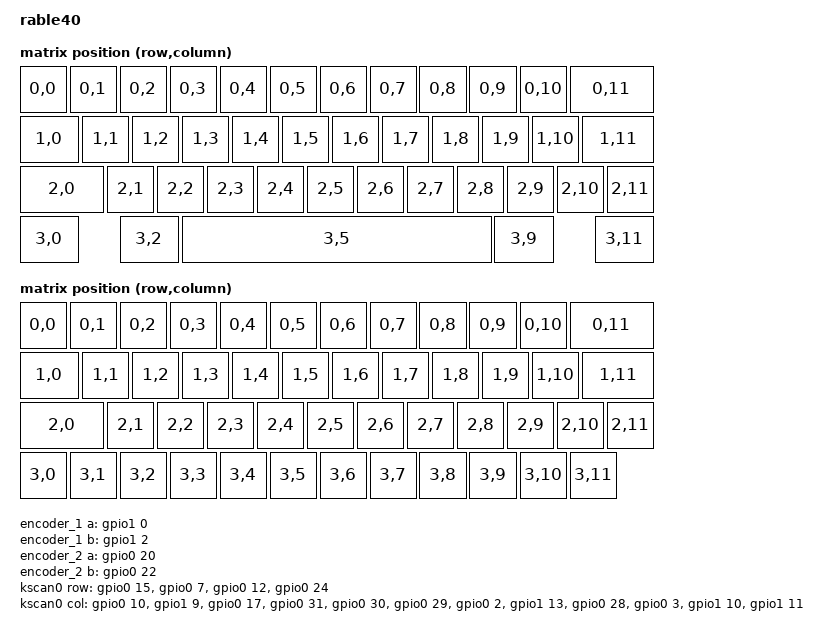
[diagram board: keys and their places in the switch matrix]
/*
 * Copyright (c) 2021 The ZMK Contributors
 *
 * SPDX-License-Identifier: MIT
 */

/dts-v1/;
#include <nordic/nrf52840_qiaa.dtsi>
#include <common/nordic/nrf52840_uf2_boot_mode.dtsi>
#include <dt-bindings/zmk/matrix_transform.h>
#include <physical_layouts.dtsi>


/ {
    model = "rable40";
    compatible = "rable40";

    chosen {
        zephyr,code-partition = &code_partition;
        zephyr,sram = &sram0;
        zephyr,flash = &flash0;
		zephyr,console = &cdc_acm_uart;
        zmk,kscan = &kscan0;
		zmk,battery = &vbatt;
        zmk,physical-layout = &all_switches_layout;
        zmk,studio-rpc-uart = &cdc_acm_uart;
    };



    vbatt: vbatt {
		compatible = "zmk,battery-voltage-divider";

		io-channels = <&adc 2>;
		output-ohms = <2000000>;
		full-ohms = <(2000000 + 806000)>;
	};

    // Encoder
    encoder_1: encoder_1 {
        compatible = "alps,ec11";

        a-gpios = <&gpio1 0 (GPIO_ACTIVE_LOW | GPIO_PULL_UP)>;
        b-gpios = <&gpio1 2 (GPIO_ACTIVE_LOW | GPIO_PULL_UP)>;
        resolution = <4>;
        status = "okay";
    };

    encoder_2: encoder_2 {
        compatible = "alps,ec11";

        a-gpios = <&gpio0 20 (GPIO_ACTIVE_LOW | GPIO_PULL_UP)>;
        b-gpios = <&gpio0 22 (GPIO_ACTIVE_LOW | GPIO_PULL_UP)>;
        resolution = <4>;
        status = "okay";
    };


    sensors {
        compatible = "zmk,keymap-sensors";
        sensors = <&encoder_1 &encoder_2>;
    };

    kscan0: kscan_0 {
        compatible = "zmk,kscan-gpio-matrix";

        diode-direction = "col2row";

        col-gpios
            = <&gpio0 10 GPIO_ACTIVE_HIGH >
            , <&gpio1 9 GPIO_ACTIVE_HIGH >
            , <&gpio0 17 GPIO_ACTIVE_HIGH >
            , <&gpio0 31 GPIO_ACTIVE_HIGH >
            , <&gpio0 30  GPIO_ACTIVE_HIGH >
            , <&gpio0 29  GPIO_ACTIVE_HIGH >
            , <&gpio0 2  GPIO_ACTIVE_HIGH >
            , <&gpio1 13  GPIO_ACTIVE_HIGH >
            , <&gpio0 28 GPIO_ACTIVE_HIGH >
            , <&gpio0 3 GPIO_ACTIVE_HIGH >
            , <&gpio1 10 GPIO_ACTIVE_HIGH >
            , <&gpio1 11 GPIO_ACTIVE_HIGH >
            ;

        row-gpios
            = <&gpio0 15 (GPIO_ACTIVE_HIGH | GPIO_PULL_DOWN)>
            , <&gpio0 7 (GPIO_ACTIVE_HIGH | GPIO_PULL_DOWN)>
            , <&gpio0 12 (GPIO_ACTIVE_HIGH | GPIO_PULL_DOWN)>
            , <&gpio0 24 (GPIO_ACTIVE_HIGH | GPIO_PULL_DOWN)>
            ;

    };


    default_layout: default_layout {
        compatible = "zmk,physical-layout";
        display-name = "6.25u spacebar (5 bottom keys)";
        kscan = <&kscan0>;
        transform = <&default_transform>;
        keys =
            <&key_physical_attrs 100 100 0 0 0 0 0>,
            <&key_physical_attrs 100 100 100 0 0 0 0>,
            <&key_physical_attrs 100 100 200 0 0 0 0>,
            <&key_physical_attrs 100 100 300 0 0 0 0>,
            <&key_physical_attrs 100 100 400 0 0 0 0>,
            <&key_physical_attrs 100 100 500 0 0 0 0>,
            <&key_physical_attrs 100 100 600 0 0 0 0>,
            <&key_physical_attrs 100 100 700 0 0 0 0>,
            <&key_physical_attrs 100 100 800 0 0 0 0>,
            <&key_physical_attrs 100 100 900 0 0 0 0>,
            <&key_physical_attrs 100 100 1000 0 0 0 0>,
            <&key_physical_attrs 175 100 1100 0 0 0 0>,
            <&key_physical_attrs 125 100 0 100 0 0 0>,
            <&key_physical_attrs 100 100 125 100 0 0 0>,
            <&key_physical_attrs 100 100 225 100 0 0 0>,
            <&key_physical_attrs 100 100 325 100 0 0 0>,
            <&key_physical_attrs 100 100 425 100 0 0 0>,
            <&key_physical_attrs 100 100 525 100 0 0 0>,
            <&key_physical_attrs 100 100 625 100 0 0 0>,
            <&key_physical_attrs 100 100 725 100 0 0 0>,
            <&key_physical_attrs 100 100 825 100 0 0 0>,
            <&key_physical_attrs 100 100 925 100 0 0 0>,
            <&key_physical_attrs 100 100 1025 100 0 0 0>,
            <&key_physical_attrs 150 100 1125 100 0 0 0>,
            <&key_physical_attrs 175 100 0 200 0 0 0>,
            <&key_physical_attrs 100 100 175 200 0 0 0>,
            <&key_physical_attrs 100 100 275 200 0 0 0>,
            <&key_physical_attrs 100 100 375 200 0 0 0>,
            <&key_physical_attrs 100 100 475 200 0 0 0>,
            <&key_physical_attrs 100 100 575 200 0 0 0>,
            <&key_physical_attrs 100 100 675 200 0 0 0>,
            <&key_physical_attrs 100 100 775 200 0 0 0>,
            <&key_physical_attrs 100 100 875 200 0 0 0>,
            <&key_physical_attrs 100 100 975 200 0 0 0>,
            <&key_physical_attrs 100 100 1075 200 0 0 0>,
            <&key_physical_attrs 100 100 1175 200 0 0 0>,
            <&key_physical_attrs 125 100 0 300 0 0 0>,
            <&key_physical_attrs 125 100 200 300 0 0 0>,
            <&key_physical_attrs 625 100 325 300 0 0 0>,
            <&key_physical_attrs 125 100 950 300 0 0 0>,
            <&key_physical_attrs 125 100 1150 300 0 0 0>;
    };

    default_transform: keymap_transform_0 {
        compatible = "zmk,matrix-transform";
        columns = <12>;
        rows = <4>;

        map = <
			RC(0,0) RC(0,1) RC(0,2) RC(0,3) RC(0,4) RC(0,5) RC(0,6) RC(0,7) RC(0,8) RC(0,9)  RC(0,10) RC(0,11)
            RC(1,0) RC(1,1) RC(1,2) RC(1,3) RC(1,4) RC(1,5) RC(1,6) RC(1,7) RC(1,8) RC(1,9)  RC(1,10) RC(1,11)
            RC(2,0) RC(2,1) RC(2,2) RC(2,3) RC(2,4) RC(2,5) RC(2,6) RC(2,7) RC(2,8) RC(2,9)  RC(2,10) RC(2,11)
            RC(3,0) RC(3,2)                 RC(3,5)                          RC(3,9)  RC(3,11)
        >;
    };
    // Electrical view: one box per independent switch circuit. Alternate
    // footprints connected to the same column use the same key binding.
    all_switches_layout: all_switches_layout {
        compatible = "zmk,physical-layout";
        display-name = "All bottom-row switches (12 matrix positions)";
        kscan = <&kscan0>;
        transform = <&all_switches_transform>;
        keys =
            <&key_physical_attrs 100 100 0 0 0 0 0>,
            <&key_physical_attrs 100 100 100 0 0 0 0>,
            <&key_physical_attrs 100 100 200 0 0 0 0>,
            <&key_physical_attrs 100 100 300 0 0 0 0>,
            <&key_physical_attrs 100 100 400 0 0 0 0>,
            <&key_physical_attrs 100 100 500 0 0 0 0>,
            <&key_physical_attrs 100 100 600 0 0 0 0>,
            <&key_physical_attrs 100 100 700 0 0 0 0>,
            <&key_physical_attrs 100 100 800 0 0 0 0>,
            <&key_physical_attrs 100 100 900 0 0 0 0>,
            <&key_physical_attrs 100 100 1000 0 0 0 0>,
            <&key_physical_attrs 175 100 1100 0 0 0 0>,
            <&key_physical_attrs 125 100 0 100 0 0 0>,
            <&key_physical_attrs 100 100 125 100 0 0 0>,
            <&key_physical_attrs 100 100 225 100 0 0 0>,
            <&key_physical_attrs 100 100 325 100 0 0 0>,
            <&key_physical_attrs 100 100 425 100 0 0 0>,
            <&key_physical_attrs 100 100 525 100 0 0 0>,
            <&key_physical_attrs 100 100 625 100 0 0 0>,
            <&key_physical_attrs 100 100 725 100 0 0 0>,
            <&key_physical_attrs 100 100 825 100 0 0 0>,
            <&key_physical_attrs 100 100 925 100 0 0 0>,
            <&key_physical_attrs 100 100 1025 100 0 0 0>,
            <&key_physical_attrs 150 100 1125 100 0 0 0>,
            <&key_physical_attrs 175 100 0 200 0 0 0>,
            <&key_physical_attrs 100 100 175 200 0 0 0>,
            <&key_physical_attrs 100 100 275 200 0 0 0>,
            <&key_physical_attrs 100 100 375 200 0 0 0>,
            <&key_physical_attrs 100 100 475 200 0 0 0>,
            <&key_physical_attrs 100 100 575 200 0 0 0>,
            <&key_physical_attrs 100 100 675 200 0 0 0>,
            <&key_physical_attrs 100 100 775 200 0 0 0>,
            <&key_physical_attrs 100 100 875 200 0 0 0>,
            <&key_physical_attrs 100 100 975 200 0 0 0>,
            <&key_physical_attrs 100 100 1075 200 0 0 0>,
            <&key_physical_attrs 100 100 1175 200 0 0 0>,
            <&key_physical_attrs 100 100 0 300 0 0 0>,
            <&key_physical_attrs 100 100 200 300 0 0 0>,
            <&key_physical_attrs 100 100 500 300 0 0 0>,
            <&key_physical_attrs 100 100 900 300 0 0 0>,
            <&key_physical_attrs 100 100 1100 300 0 0 0>,
            <&key_physical_attrs 100 100 100 300 0 0 0>,
            <&key_physical_attrs 100 100 300 300 0 0 0>,
            <&key_physical_attrs 100 100 400 300 0 0 0>,
            <&key_physical_attrs 100 100 600 300 0 0 0>,
            <&key_physical_attrs 100 100 700 300 0 0 0>,
            <&key_physical_attrs 100 100 800 300 0 0 0>,
            <&key_physical_attrs 100 100 1000 300 0 0 0>;
    };

    all_switches_transform: all_switches_transform {
        compatible = "zmk,matrix-transform";
        rows = <4>;
        columns = <12>;
        map = <
            RC(0,0) RC(0,1) RC(0,2) RC(0,3) RC(0,4) RC(0,5) RC(0,6) RC(0,7) RC(0,8) RC(0,9) RC(0,10) RC(0,11)
            RC(1,0) RC(1,1) RC(1,2) RC(1,3) RC(1,4) RC(1,5) RC(1,6) RC(1,7) RC(1,8) RC(1,9) RC(1,10) RC(1,11)
            RC(2,0) RC(2,1) RC(2,2) RC(2,3) RC(2,4) RC(2,5) RC(2,6) RC(2,7) RC(2,8) RC(2,9) RC(2,10) RC(2,11)
            RC(3,0) RC(3,2) RC(3,5) RC(3,9) RC(3,11) RC(3,1) RC(3,3) RC(3,4) RC(3,6) RC(3,7) RC(3,8) RC(3,10)
        >;
    };

    // Both layouts retain the same binding indices for the original 41 keys.
    // The seven additional circuits occupy indices 41 through 47.
    rable40_position_map: layout_position_map {
        compatible = "zmk,physical-layout-position-map";
        complete;
        standard {
            physical-layout = <&default_layout>;
            positions = <0 1 2 3 4 5 6 7 8 9 10 11 12 13 14 15 16 17 18 19 20 21 22 23 24 25 26 27 28 29 30 31 32 33 34 35 36 37 38 39 40 41 42 43 44 45 46 47>;
        };
        all_switches {
            physical-layout = <&all_switches_layout>;
            positions = <0 1 2 3 4 5 6 7 8 9 10 11 12 13 14 15 16 17 18 19 20 21 22 23 24 25 26 27 28 29 30 31 32 33 34 35 36 37 38 39 40 41 42 43 44 45 46 47>;
        };
    };

};

&adc {
    status = "okay";
};

&gpiote {
    status = "okay";
};

&gpio0 {
    status = "okay";
};

&gpio1 {
    status = "okay";
};

&usbd {
    status = "okay";
};



&flash0 {
    /*
     * For more information, see:
     * http://docs.zephyrproject.org/latest/devices/dts/flash_partitions.html
     */
    partitions {
        compatible = "fixed-partitions";
        #address-cells = <1>;
        #size-cells = <1>;

        sd_partition: partition@0 {
            label = "mbr";
            reg = <0x00000000 0x00001000>;
        };
        code_partition: partition@1000 {
            label = "code_partition";
            reg = <0x00001000 0x000d3000>;
        };

        storage_partition: partition@d4000 {
            label = "storage";
            reg = <0x000d4000 0x00020000>;
        };

        boot_partition: partition@f4000 {
            label = "adafruit_boot";
            reg = <0x000f4000 0x0000c000>;
        };
    };
};


&usbd {
	status = "okay";
	cdc_acm_uart: cdc_acm_uart {
		compatible = "zephyr,cdc-acm-uart";

	};
};

&reg1 {
    regulator-initial-mode = <NRF5X_REG_MODE_DCDC>;
};

zephyr_udc0: &usbd {
    status = "okay";
};

#include "rable40-layouts.dtsi"
